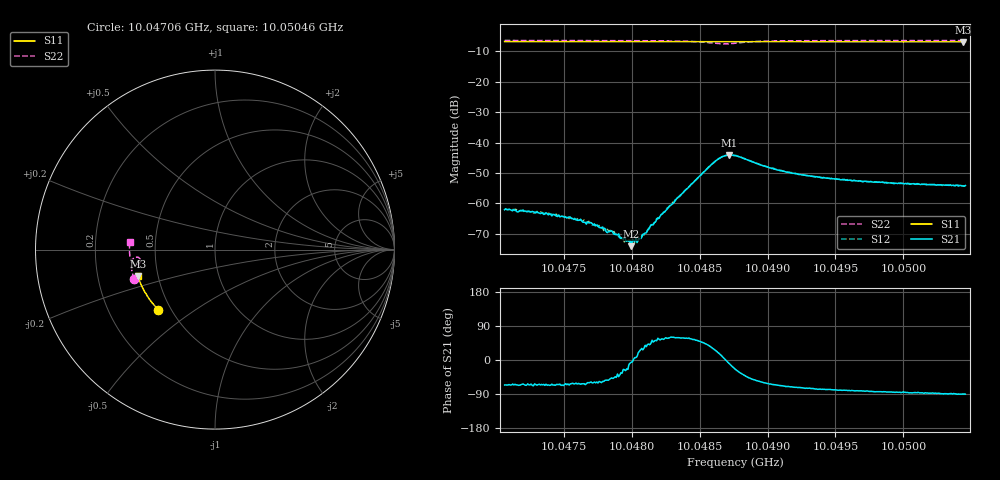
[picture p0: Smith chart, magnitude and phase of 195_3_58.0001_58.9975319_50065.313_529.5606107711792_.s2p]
#  HZ  S  RI  R  50.00
! Rohde & Schwarz Vector Network Analyzer
! Rohde-Schwarz,ZNB20-2Port,1311601062101988,3.16
! Created: UTC 3/21/2024, 12:59:01 AM
! freq[Hz]  re:S11  im:S11  re:S21  im:S21  re:S12  im:S12  re:S22  im:S22
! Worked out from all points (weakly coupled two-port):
!   401 points, 10.04706 GHz to 10.05046 GHz, reference 50 ohm
!   highest |S21| = -44.09 dB at 10.04872 GHz (marker M1); lowest = -74.1 dB at 10.048 GHz (marker M2)
!   lowest |S11| = -6.9 dB at 10.05044 GHz (marker M3), VSWR 2.67, Z = 19.2 - j7.1 ohm
!   |S11| at or under -10 dB: nowhere
!   |S22| runs from -7.5 to -6.4 dB; largest |S21 - S12| = 0.00045
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1.0047064e10  -0.3159 -0.3351  0.000319 -0.000715  0.000374 -0.000709  -0.4506 -0.1638
1.0047386e10  -0.3306 -0.3195  0.000267 -0.000588  0.000331 -0.000594  -0.457 -0.1423
1.0047632e10  -0.3414 -0.3074  0.000234 -0.000452  0.000265 -0.000448  -0.4612 -0.1252
1.0047709e10  -0.3446 -0.3033  0.000227 -0.000403  0.000244 -0.000365  -0.4624 -0.1198
1.0047827e10  -0.3496 -0.2972  0.000203 -0.000272  0.000244 -0.000261  -0.4638 -0.1109
1.0047853e10  -0.3505 -0.2958  0.000238 -0.000259  0.000255 -0.00023  -0.4642 -0.1087
1.0047946e10  -0.3544 -0.2911  0.000248 -0.000118  0.000206 -0.000104  -0.4651 -0.1016
1.004798e10  -0.3558 -0.2893  0.00023 -4.65e-05  0.000245 -4.56e-05  -0.4655 -0.0989
1.0047997e10  -0.3564 -0.2884  0.000196 -2.04e-05  0.000247 -5.01e-06  -0.4655 -0.0978
1.0048023e10  -0.3575 -0.287  0.000235 2.54e-05  0.000219 4.86e-05  -0.4658 -0.0958
1.0048048e10  -0.3586 -0.2857  0.000237 8.08e-05  0.000242 7.3e-05  -0.4661 -0.0934
1.0048056e10  -0.3588 -0.2852  0.000243 0.000104  0.000241 0.000115  -0.466 -0.0927
1.0048201e10  -0.3646 -0.2776  0.000326 0.000464  0.000322 0.000483  -0.4661 -0.0799
1.0048591e10  -0.3787 -0.256  0.00371 0.00235  0.0036 0.00261  -0.434 -0.0412
1.0048659e10  -0.3808 -0.2523  0.00557 0.00121  0.00553 0.0015  -0.418 -0.0513
1.0048718e10  -0.3827 -0.2491  0.00616 -0.00103  0.00621 -0.000675  -0.4161 -0.0697
1.0048761e10  -0.3843 -0.2471  0.00559 -0.00247  0.00579 -0.00207  -0.4239 -0.0796
1.0049066e10  -0.3947 -0.2297  0.00145 -0.00326  0.00167 -0.00322  -0.4668 -0.0617
1.0049329e10  -0.4027 -0.2143  0.000717 -0.00268  0.000867 -0.00266  -0.4738 -0.0378
1.0049897e10  -0.4182 -0.1801  0.000203 -0.00216  0.000342 -0.00215  -0.4766 0.00544
1.005044e10  -0.4301 -0.1466  2.89e-06 -0.00193  9.61e-05 -0.00195  -0.4747 0.0429
1.0050457e10  -0.4306 -0.1455  -5.09e-06 -0.00196  8.77e-05 -0.00195  -0.4745 0.0439
